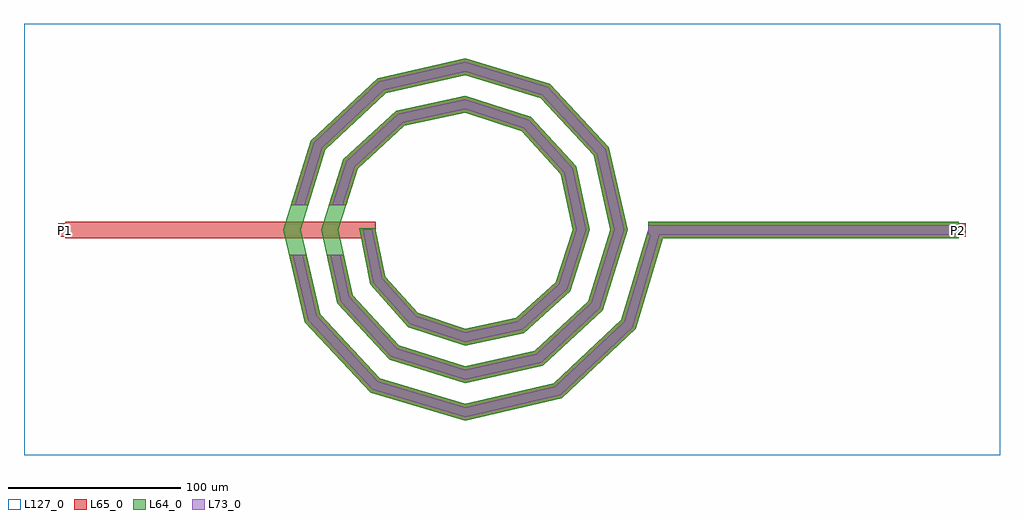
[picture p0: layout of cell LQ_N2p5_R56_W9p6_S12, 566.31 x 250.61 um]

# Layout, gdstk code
import gdstk
lib = gdstk.Library(unit=1e-6, precision=1e-09)
def R(c, l, rs):  # rectangles x0, y0, x1, y1
    for r in rs: c.add(gdstk.rectangle(r[:2], r[2:], *l))
def P(c, l, *ps):  # polygons
    for p in ps: c.add(gdstk.Polygon(p, *l))
L64_0 = (64, 0)
L65_0 = (65, 0)
L73_0 = (73, 0)
L127_0 = (127, 0)

lq_n2p5_r56_w9p6_s12 = lib.new_cell('LQ_N2p5_R56_W9p6_S12')
R(lq_n2p5_r56_w9p6_s12, L64_0, [(106.464,-4.8,286.464,4.8)])
P(lq_n2p5_r56_w9p6_s12, L64_0, [(-46.19,-27.001),(-27.419,-48.05),(0.272,-57.143),(29.71,-50.931),(52.768,-30.169),(62.604,0.25),(55.671,32.423),(32.917,57.488),(0.231,68.065),(-35.138,60.41),(-62.209,35.662),(-73.526,0.215),(-65.147,-37.855),(-38.406,-66.932),(0.201,-78.988),(40.575,-69.884),(71.655,-41.148),(84.45,0.189),(74.62,43.295),(43.888,76.379),(0.178,89.911),(-46.017,79.355),(-81.104,46.628),(-95.373,0.168),(-84.089,-48.74),(-49.367,-85.83),(0.16,-100.835),(51.464,-88.824),(90.556,-52.104),(106.668,1.384),(115.86,-1.384),(99.005,-57.339),(56.159,-97.584),(0.16,-110.769),(-54.615,-94.271),(-92.858,-53.421),(-105.307,0.168),(-89.536,51.891),(-50.681,88.132),(0.178,99.844),(49.169,84.8),(83.407,47.941),(94.382,0.189),(80.064,-46.447),(45.2,-78.682),(0.201,-88.92),(-43.727,-75.327),(-73.958,-42.457),(-83.457,0.215),(-70.589,41.009),(-39.712,69.235),(0.231,77.994),(38.292,65.85),(64.513,36.966),(72.532,0.25),(61.109,-35.577),(34.216,-59.792),(0.272,-67.068),(-32.866,-56.366),(-55.073,-31.463),(-61.345,0.967),(-51.942,0.967)])
R(lq_n2p5_r56_w9p6_s12, L65_0, [(-231.844,-4.8,-51.844,4.8), (106.464,-4.8,286.464,4.8), (-235.844,-4,-227.844,4), (282.464,-4,290.464,4)])
P(lq_n2p5_r56_w9p6_s12, L65_0, [(-84.09,-48.74),(-49.367,-85.83),(0.16,-100.835),(51.464,-88.824),(90.556,-52.104),(106.668,1.384),(115.86,-1.384),(99.005,-57.339),(56.159,-97.584),(0.16,-110.769),(-54.615,-94.271),(-92.858,-53.421),(-101.923,-14.4),(-92.067,-14.4)],
  [(-65.147,-37.855),(-38.406,-66.932),(0.201,-78.988),(40.575,-69.884),(71.655,-41.148),(84.45,0.189),(74.62,43.295),(43.888,76.379),(0.178,89.911),(-46.017,79.355),(-81.104,46.628),(-90.931,14.4),(-100.967,14.4),(-89.536,51.891),(-50.682,88.132),(0.178,99.844),(49.169,84.8),(83.407,47.941),(94.382,0.189),(80.064,-46.447),(45.2,-78.682),(0.201,-88.92),(-43.727,-75.327),(-73.958,-42.457),(-80.204,-14.4),(-70.369,-14.4)],
  [(-27.419,-48.05),(0.272,-57.143),(29.71,-50.931),(52.768,-30.169),(62.604,0.25),(55.671,32.423),(32.917,57.488),(0.231,68.065),(-35.138,60.41),(-62.209,35.662),(-68.916,14.4),(-78.982,14.4),(-70.589,41.009),(-39.712,69.235),(0.231,77.994),(38.292,65.85),(64.513,36.966),(72.532,0.25),(61.109,-35.577),(34.216,-59.792),(0.272,-67.069),(-32.866,-56.366),(-55.073,-31.463),(-61.345,0.967),(-51.942,0.967),(-46.19,-27.001)])
R(lq_n2p5_r56_w9p6_s12, L73_0, [(106.464,-2.8,286.464,2.8)])
P(lq_n2p5_r56_w9p6_s12, L73_0, [(-85.916,-49.715),(-50.46,-87.588),(0.093,-102.904),(52.442,-90.649),(92.316,-53.195),(108.583,0.808),(113.945,0.808),(97.245,-56.248),(55.181,-95.759),(0.093,-108.699),(-53.521,-92.512),(-91.031,-52.446),(-99.869,-14.4),(-94.12,-14.4)],
  [(-66.983,-38.814),(-39.514,-68.681),(0.117,-81.057),(41.538,-71.717),(73.407,-42.252),(86.519,0.11),(76.45,44.263),(44.988,78.134),(0.104,91.981),(-46.989,81.183),(-82.861,47.724),(-93.022,14.4),(-98.876,14.4),(-87.779,50.795),(-49.71,86.303),(0.104,97.775),(48.069,83.046),(81.576,46.973),(92.313,0.11),(78.312,-45.343),(44.236,-76.849),(0.117,-86.85),(-42.619,-73.578),(-72.122,-41.498),(-78.155,-14.4),(-72.418,-14.4)],
  [(-28.554,-49.783),(0.158,-59.21),(30.649,-52.777),(54.506,-31.296),(64.672,0.146),(57.513,33.369),(34.037,59.23),(0.135,70.134),(-36.091,62.248),(-63.955,36.776),(-71.013,14.4),(-76.885,14.4),(-68.843,39.895),(-38.759,67.396),(0.135,75.926),(37.172,64.108),(62.671,36.019),(70.463,0.146),(59.371,-34.451),(33.277,-57.946),(0.158,-65.001),(-31.731,-54.634),(-53.222,-30.534),(-59.386,0.564),(-53.901,0.564),(-48.041,-27.931)])
R(lq_n2p5_r56_w9p6_s12, L127_0, [(-255.844,-130.769,310.464,119.844)])
lq_n2p5_r56_w9p6_s12.add(gdstk.Label('P2', (286.464,0), layer=65, texttype=0))
lq_n2p5_r56_w9p6_s12.add(gdstk.Label('P1', (-231.844,0), layer=65, texttype=0))
lq_n2p5_r56_w9p6_s12.add(gdstk.Label('P2', (290.464,0), layer=145, texttype=0))
lq_n2p5_r56_w9p6_s12.add(gdstk.Label('P1', (-235.844,0), layer=145, texttype=0))

lib.write_gds('LQ_N2p5_R56_W9p6_S12.gds')
